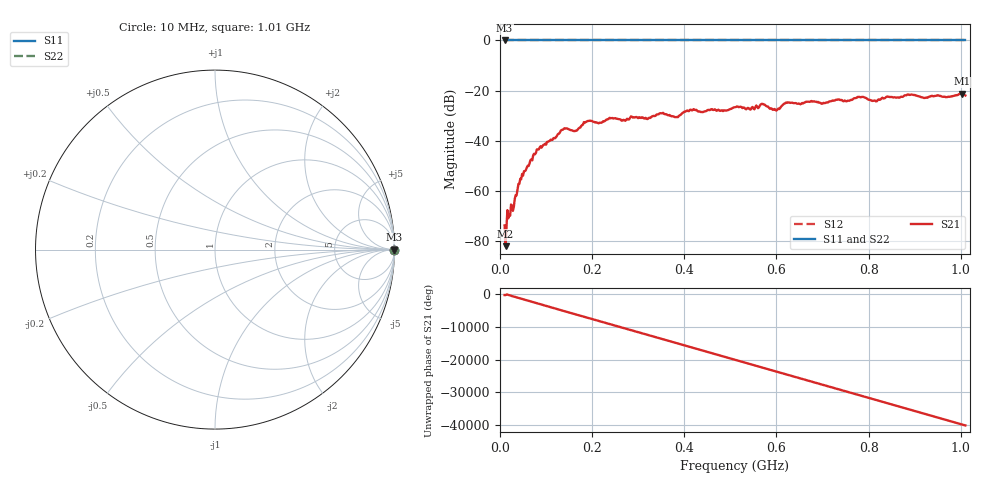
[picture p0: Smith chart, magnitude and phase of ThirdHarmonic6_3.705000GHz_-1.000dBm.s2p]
! 8/17/2025 12:36:12 PM
! C:\ANRITSUVNA\TEMP\TEMP.S2P
! CHANNEL.1
! TR.MEASUREMENT
! RAW.DATA
! RF.CORRECTION.OFF
! AVERAGING.OFF
! IF.BANDWIDTH: 5KHZ
! SWEEPTYPE:  FREQ.SWEEP(Linear)
! Reference Plane Port Info
! PORT:  PORT1  PORT2
! DISTANCE:  0  m  0  m
! TIME:  0  s  0  s
! PHASE.OFFSET:  0  deg.  0  deg.
! LOSS:  0  dB  0  dB
! REF.LOSS:  0  dB  0  dB
! REF.FREQ:  0  Hz  0  Hz
! Power Info
! POWER:  -20  dBm  -20  dBm
! EFF.POWER:  -20  dBm  -20  dBm
! SOURCE.ATTEN:  0  dB  0  dB
! TEST.ATTEN:  0  dB  0  dB
# GHZ S RI R 50.0
! FREQ.GHZ  S11RE  S11IM  S21RE  S21IM  S12RE  S12IM  S22RE  S22IM
!; PortSelection: Port_12
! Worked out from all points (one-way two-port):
!   501 points, 10 MHz to 1.01 GHz, reference 50 ohm
!   highest |S21| = -21.20 dB at 1.002 GHz (marker M1); lowest = -82.0 dB at 12 MHz (marker M2)
!   lowest |S11| = 0.0 dB at 10 MHz (marker M3)
!   |S11| at or under -10 dB: nowhere
!   |S22| runs from 0.0 to 0.0 dB; largest |S21 - S12| = 1.1
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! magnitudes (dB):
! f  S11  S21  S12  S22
! 10 MHz  0.0  -73.7  0.0  0.0
! 12 MHz  0.0  -82.0  0.0  0.0
! 20 MHz  0.0  -69.4  0.0  0.0
! 32 MHz  0.0  -63.2  0.0  0.0
! 44 MHz  0.0  -55.1  0.0  0.0
! 76 MHz  0.0  -45.4  0.0  0.0
! 136 MHz  0.0  -35.6  0.0  0.0
! 164 MHz  0.0  -36.0  0.0  0.0
! 178 MHz  0.0  -33.7  0.0  0.0
! 344 MHz  0.0  -29.4  0.0  0.0
! 382 MHz  0.0  -30.6  0.0  0.0
! 416 MHz  0.0  -27.9  0.0  0.0
! 510 MHz  0.0  -26.6  0.0  0.0
! 570 MHz  0.0  -25.3  0.0  0.0
! 596 MHz  0.0  -27.3  0.0  0.0
! 622 MHz  0.0  -24.9  0.0  0.0
! 678 MHz  0.0  -24.4  0.0  0.0
! 782 MHz  0.0  -22.6  0.0  0.0
! 814 MHz  0.0  -24.0  0.0  0.0
! 844 MHz  0.0  -22.5  0.0  0.0
! 1.002 GHz  0.0  -21.2  0.0  0.0
! 1.01 GHz  0.0  -21.9  0.0  0.0
